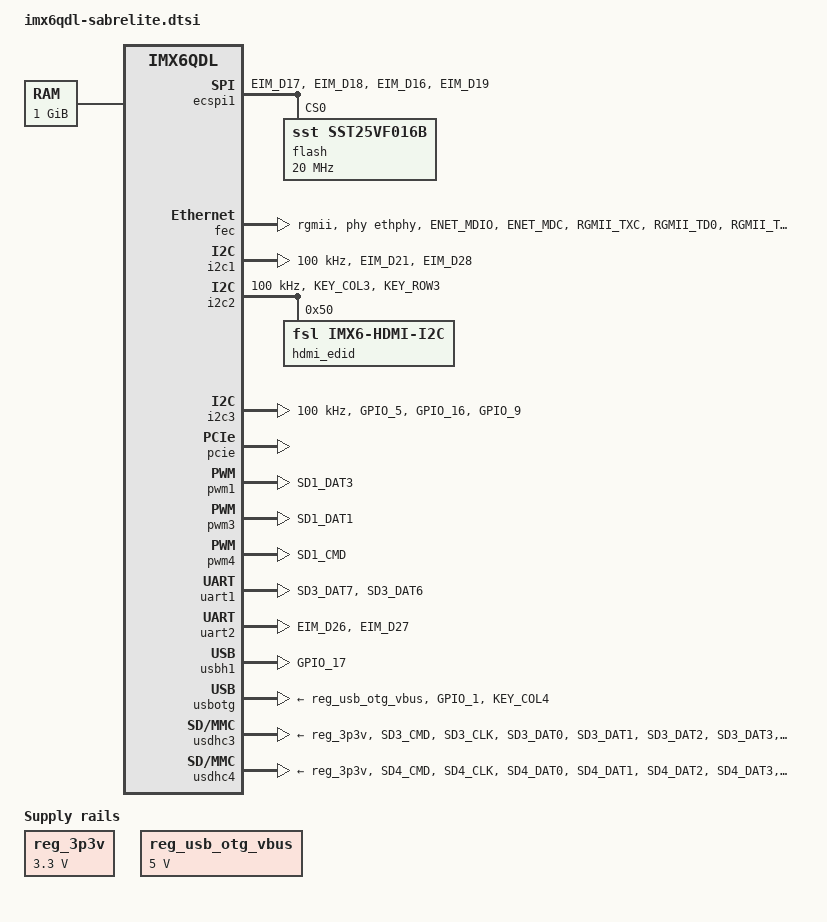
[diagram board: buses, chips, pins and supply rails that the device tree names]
// SPDX-License-Identifier: GPL-2.0+
//
// Copyright 2013-2019 Boundary Devices, Inc.
// Copyright 2012 Freescale Semiconductor, Inc.
// Copyright 2011 Linaro Ltd.

#include <dt-bindings/clock/imx6qdl-clock.h>
#include <dt-bindings/gpio/gpio.h>
#include <dt-bindings/input/input.h>

&iomuxc {
	pinctrl-names = "default";
	pinctrl-0 = <&pinctrl_hog>;

	pinctrl_ecspi1: ecspi1grp {
		fsl,pins = <
			MX6QDL_PAD_EIM_D17__ECSPI1_MISO		0x100b1
			MX6QDL_PAD_EIM_D18__ECSPI1_MOSI		0x100b1
			MX6QDL_PAD_EIM_D16__ECSPI1_SCLK		0x000b1
#define GP_ECSPI1_NOR_CS	<&gpio3 19 GPIO_ACTIVE_LOW>
			MX6QDL_PAD_EIM_D19__GPIO3_IO19		0x0b0b1
		>;
	};

	pinctrl_enet: enetgrp {
		fsl,pins = <
			MX6QDL_PAD_ENET_MDIO__ENET_MDIO		0x1b0b0
			MX6QDL_PAD_ENET_MDC__ENET_MDC		0x1b0b0
			MX6QDL_PAD_RGMII_TXC__RGMII_TXC		0x100b0
			MX6QDL_PAD_RGMII_TD0__RGMII_TD0		0x100b0
			MX6QDL_PAD_RGMII_TD1__RGMII_TD1		0x100b0
			MX6QDL_PAD_RGMII_TD2__RGMII_TD2		0x100b0
			MX6QDL_PAD_RGMII_TD3__RGMII_TD3		0x100b0
			MX6QDL_PAD_RGMII_TX_CTL__RGMII_TX_CTL	0x100b0
			MX6QDL_PAD_ENET_REF_CLK__ENET_TX_CLK	0x100b0
			MX6QDL_PAD_RGMII_RXC__RGMII_RXC		0x1b0b0
			MX6QDL_PAD_RGMII_RD0__RGMII_RD0		0x1b0b0
			MX6QDL_PAD_RGMII_RD1__RGMII_RD1		0x1b0b0
			MX6QDL_PAD_RGMII_RD2__RGMII_RD2		0x1b0b0
			MX6QDL_PAD_RGMII_RD3__RGMII_RD3		0x1b0b0
			MX6QDL_PAD_RGMII_RX_CTL__RGMII_RX_CTL	0x1b0b0
#undef GP_ENET_PHY_RESET
#define GP_ENET_PHY_RESET	<&gpio3 23 GPIO_ACTIVE_LOW>
			MX6QDL_PAD_EIM_D23__GPIO3_IO23		0x030b0
#define GPIRQ_ENET_PHY		<&gpio1 28 IRQ_TYPE_LEVEL_LOW>
			MX6QDL_PAD_ENET_TX_EN__GPIO1_IO28	0x1b0b0
		>;
	};

	pinctrl_hog: hoggrp {
		fsl,pins = <
			/* Spare */
			MX6QDL_PAD_NANDF_D7__GPIO2_IO07		0x1b0b0
		>;
	};

	pinctrl_i2c1: i2c1grp {
		fsl,pins = <
			MX6QDL_PAD_EIM_D21__I2C1_SCL		0x4001b8b1
			MX6QDL_PAD_EIM_D28__I2C1_SDA		0x4001b8b1
		>;
	};

	pinctrl_i2c1_1: i2c1-1grp {
		fsl,pins = <
#define GP_I2C1_SCL	<&gpio3 21 GPIO_ACTIVE_HIGH>
			MX6QDL_PAD_EIM_D21__GPIO3_IO21		0x4001b8b1
#define GP_I2C1_SDA	<&gpio3 28 GPIO_ACTIVE_HIGH>
			MX6QDL_PAD_EIM_D28__GPIO3_IO28		0x4001b8b1
		>;
	};

	pinctrl_i2c2: i2c2grp {
		fsl,pins = <
			MX6QDL_PAD_KEY_COL3__I2C2_SCL		0x4001b8b1
			MX6QDL_PAD_KEY_ROW3__I2C2_SDA		0x4001b8b1
		>;
	};

	pinctrl_i2c2_1: i2c2-1grp {
		fsl,pins = <
#define GP_I2C2_SCL	<&gpio4 12 GPIO_ACTIVE_HIGH>
			MX6QDL_PAD_KEY_COL3__GPIO4_IO12		0x4001b8b1
#define GP_I2C2_SDA	<&gpio4 13 GPIO_ACTIVE_HIGH>
			MX6QDL_PAD_KEY_ROW3__GPIO4_IO13		0x4001b8b1
		>;
	};

	pinctrl_i2c3: i2c3grp {
		fsl,pins = <
			MX6QDL_PAD_GPIO_5__I2C3_SCL		0x4001b8b1
			MX6QDL_PAD_GPIO_16__I2C3_SDA		0x4001b8b1
#define GPIRQ_I2C3_J7	<&gpio1 9 IRQ_TYPE_EDGE_FALLING>
#define GP_I2C3_J7	<&gpio1 9 GPIO_ACTIVE_LOW>
			MX6QDL_PAD_GPIO_9__GPIO1_IO09		0x1b0b0
		>;
	};

	pinctrl_i2c3_1: i2c3-1grp {
		fsl,pins = <
#define GP_I2C3_SCL	<&gpio1 5 GPIO_ACTIVE_HIGH>
			MX6QDL_PAD_GPIO_5__GPIO1_IO05		0x4001b8b1
#define GP_I2C3_SDA	<&gpio7 11 GPIO_ACTIVE_HIGH>
			MX6QDL_PAD_GPIO_16__GPIO7_IO11		0x4001b8b1
		>;
	};

	pinctrl_pwm1: pwm1grp {
		fsl,pins = <
			MX6QDL_PAD_SD1_DAT3__PWM1_OUT		0x1b0b1
		>;
	};

	pinctrl_pwm3: pwm3grp {
		fsl,pins = <
			MX6QDL_PAD_SD1_DAT1__PWM3_OUT		0x1b0b1
		>;
	};

	pinctrl_pwm4: pwm4grp {
		fsl,pins = <
			MX6QDL_PAD_SD1_CMD__PWM4_OUT		0x1b0b1
		>;
	};

	pinctrl_reg_usbotg_vbus: reg-usbotg-vbusgrp {
		fsl,pins = <
#define GP_REG_USBOTG	<&gpio3 22 GPIO_ACTIVE_HIGH>
			MX6QDL_PAD_EIM_D22__GPIO3_IO22		0x030b0
		>;
	};

	pinctrl_uart1: uart1grp {
		fsl,pins = <
			MX6QDL_PAD_SD3_DAT7__UART1_TX_DATA	0x1b0b1
			MX6QDL_PAD_SD3_DAT6__UART1_RX_DATA	0x1b0b1
		>;
	};

	pinctrl_uart2: uart2grp {
		fsl,pins = <
			MX6QDL_PAD_EIM_D26__UART2_TX_DATA	0x1b0b1
			MX6QDL_PAD_EIM_D27__UART2_RX_DATA	0x1b0b1
		>;
	};

	pinctrl_usbh1: usbh1grp {
		fsl,pins = <
#define GP_USBH1_HUB_RESET	<&gpio7 12 GPIO_ACTIVE_LOW>
			MX6QDL_PAD_GPIO_17__GPIO7_IO12		0x0b0b0
		>;
	};

	pinctrl_usbotg: usbotggrp {
		fsl,pins = <
			MX6QDL_PAD_GPIO_1__USB_OTG_ID		0x17059
			MX6QDL_PAD_KEY_COL4__USB_OTG_OC		0x1b0b0
		>;
	};

	pinctrl_usdhc3: usdhc3grp {
		fsl,pins = <
			MX6QDL_PAD_SD3_CMD__SD3_CMD		0x17059
			MX6QDL_PAD_SD3_CLK__SD3_CLK		0x10059
			MX6QDL_PAD_SD3_DAT0__SD3_DATA0		0x17059
			MX6QDL_PAD_SD3_DAT1__SD3_DATA1		0x17059
			MX6QDL_PAD_SD3_DAT2__SD3_DATA2		0x17059
			MX6QDL_PAD_SD3_DAT3__SD3_DATA3		0x17059
#define GP_USDHC3_CD	<&gpio7 0 GPIO_ACTIVE_LOW>
			MX6QDL_PAD_SD3_DAT5__GPIO7_IO00		0x1b0b0
#define GP_USDHC3_WP	<&gpio7 1 GPIO_ACTIVE_HIGH>
			MX6QDL_PAD_SD3_DAT4__GPIO7_IO01         0x1b0b0
		>;
	};

	pinctrl_usdhc4: usdhc4grp {
		fsl,pins = <
			MX6QDL_PAD_SD4_CMD__SD4_CMD		0x17059
			MX6QDL_PAD_SD4_CLK__SD4_CLK		0x10059
			MX6QDL_PAD_SD4_DAT0__SD4_DATA0		0x17059
			MX6QDL_PAD_SD4_DAT1__SD4_DATA1		0x17059
			MX6QDL_PAD_SD4_DAT2__SD4_DATA2		0x17059
			MX6QDL_PAD_SD4_DAT3__SD4_DATA3		0x17059
#define GP_USDHC4_CD	<&gpio2 6 GPIO_ACTIVE_LOW>
			MX6QDL_PAD_NANDF_D6__GPIO2_IO06		0x1b0b0
		>;
	};
};

/ {
	aliases {
		mmc0 = &usdhc3;
		mmc1 = &usdhc4;
		pwm_lcd = &pwm1;
		pwm_lvds = &pwm4;
	};

	chosen {
		stdout-path = &uart2;
	};

	memory {
		reg = <0x10000000 0x40000000>;
	};

	reg_3p3v: regulator-3v3 {
		compatible = "regulator-fixed";
		regulator-name = "3P3V";
		regulator-min-microvolt = <3300000>;
		regulator-max-microvolt = <3300000>;
		regulator-always-on;
	};

	reg_usb_otg_vbus: regulator-usb-otg-vbus {
		compatible = "regulator-fixed";
		regulator-name = "usb_otg_vbus";
		regulator-min-microvolt = <5000000>;
		regulator-max-microvolt = <5000000>;
		gpio = GP_REG_USBOTG;
		enable-active-high;
	};
};

&ecspi1 {
	cs-gpios = GP_ECSPI1_NOR_CS;
	pinctrl-names = "default";
	pinctrl-0 = <&pinctrl_ecspi1>;
	status = "okay";

	flash: m25p80@0 {
		compatible = "sst,sst25vf016b", "jedec,spi-nor";
		spi-max-frequency = <20000000>;
		reg = <0>;
		#address-cells = <1>;
		#size-cells = <1>;
		mtd@00000000 {
			label = "U-Boot";
			reg = <0x0 0xC0000>;
		};

		mtd@000C0000 {
			label = "env";
			reg = <0xC0000 0x2000>;
		};
		mtd@000C2000 {
			label = "splash";
			reg = <0xC2000 0x13e000>;
		};
	};
};

&fec {
	phy-handle = <&ethphy>;
	phy-mode = "rgmii";
#if 0
	phy-reset-gpios = GP_ENET_PHY_RESET;
#endif
	pinctrl-names = "default";
	pinctrl-0 = <&pinctrl_enet>;
	rxc-skew-ps = <3000>;
	rxd0-skew-ps = <0>;
	rxd1-skew-ps = <0>;
	rxd2-skew-ps = <0>;
	rxd3-skew-ps = <0>;
	rxdv-skew-ps = <0>;
	status = "okay";
	txc-skew-ps = <3000>;
	txd0-skew-ps = <0>;
	txd1-skew-ps = <0>;
	txd2-skew-ps = <0>;
	txd3-skew-ps = <0>;
	txen-skew-ps = <0>;

	mdio {
		#address-cells = <0>;
		#size-cells = <1>;

		ethphy: ethernet-phy {
			interrupts-extended = GPIRQ_ENET_PHY;
		};
	};
};

&i2c1 {
	clock-frequency = <100000>;
	pinctrl-names = "default", "gpio";
	pinctrl-0 = <&pinctrl_i2c1>;
	pinctrl-1 = <&pinctrl_i2c1_1>;
	scl-gpios = GP_I2C1_SCL;
	sda-gpios = GP_I2C1_SDA;
	status = "okay";
};

&i2c2 {
	clock-frequency = <100000>;
	pinctrl-names = "default", "gpio";
	pinctrl-0 = <&pinctrl_i2c2>;
	pinctrl-1 = <&pinctrl_i2c2_1>;
	scl-gpios = GP_I2C2_SCL;
	sda-gpios = GP_I2C2_SDA;
	status = "okay";

	hdmi_edid: edid@50 {
		compatible = "fsl,imx6-hdmi-i2c";
		reg = <0x50>;
	};
};

&i2c3 {
	clock-frequency = <100000>;
	pinctrl-names = "default", "gpio";
	pinctrl-0 = <&pinctrl_i2c3>;
	pinctrl-1 = <&pinctrl_i2c3_1>;
	scl-gpios = GP_I2C3_SCL;
	sda-gpios = GP_I2C3_SDA;
	status = "okay";
};

&pcie {
	status = "okay";
};

&pwm1 {
	pinctrl-names = "default";
	pinctrl-0 = <&pinctrl_pwm1>;
	status = "okay";
};

&pwm3 {
	pinctrl-names = "default";
	pinctrl-0 = <&pinctrl_pwm3>;
	status = "okay";
};

&pwm4 {
	pinctrl-names = "default";
	pinctrl-0 = <&pinctrl_pwm4>;
	status = "okay";
};

&uart1 {
	pinctrl-names = "default";
	pinctrl-0 = <&pinctrl_uart1>;
	status = "okay";
};

&uart2 {
	pinctrl-names = "default";
	pinctrl-0 = <&pinctrl_uart2>;
	status = "okay";
};

&usbh1 {
	pinctrl-names = "default";
	pinctrl-0 = <&pinctrl_usbh1>;
	disable-over-current;
	reset-gpios = GP_USBH1_HUB_RESET;
	status = "okay";
};

&usbotg {
	vbus-supply = <&reg_usb_otg_vbus>;
	pinctrl-names = "default";
	pinctrl-0 = <&pinctrl_usbotg>;
	disable-over-current;
	status = "okay";
};

&usdhc3 {
	pinctrl-names = "default";
	pinctrl-0 = <&pinctrl_usdhc3>;
	cd-gpios = GP_USDHC3_CD;
	wp-gpios = GP_USDHC3_WP;
	vmmc-supply = <&reg_3p3v>;
	status = "okay";
};

&usdhc4 {
	pinctrl-names = "default";
	pinctrl-0 = <&pinctrl_usdhc4>;
	cd-gpios = GP_USDHC4_CD;
	vmmc-supply = <&reg_3p3v>;
	status = "okay";
};
